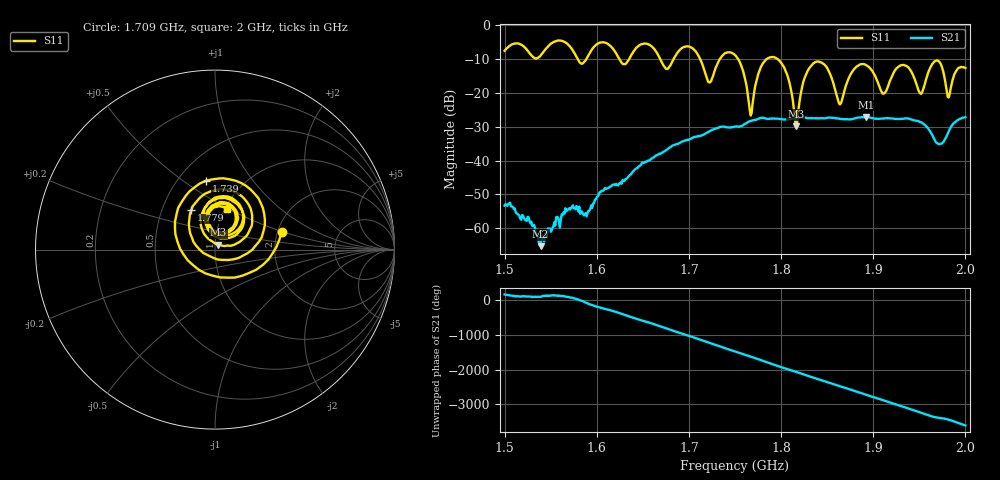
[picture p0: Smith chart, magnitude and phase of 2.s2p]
! NanoVNA-App by SYSJOINT et al v1.1.209 (+OD18)
! Date: 2026-01-21 14:14:57
! Start: 1,5GHz Stop: 2GHz Points: 501
! S-Parameter data: F S11 S21 S12 S22
# Hz S RI R 50
!  Frequency  S11_Real  S11_Imag  S21_Real  S21_Imag  S12_Real  S12_Imag  S22_Real  S22_Imag
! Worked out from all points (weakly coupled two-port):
!   501 points, 1.5 GHz to 2 GHz, reference 50 ohm
!   highest |S21| = -27.09 dB at 1.892 GHz (marker M1); lowest = -65.3 dB at 1.539 GHz (marker M2)
!   lowest |S11| = -29.9 dB at 1.816 GHz (marker M3), VSWR 1.07, Z = 51.7 + j2.75 ohm
!   |S11| at or under -10 dB: 1.712 GHz to 1.733 GHz (21.22 MHz wide, 1.23 % of centre); 1.754 GHz to 1.784 GHz (30.51 MHz wide, 1.73 % of centre); 1.796 GHz to end of sweep (the widest 3 of 6)
!   S12 and S22 are empty: the file has one direction only
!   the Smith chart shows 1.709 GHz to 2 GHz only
!   S11 on the Smith chart (normalised r, x): 1.709 GHz: 2.11, +0.47; 1.739 GHz: 0.68, +0.61; 1.779 GHz: 0.70, +0.33; 2 GHz: 1.02, +0.49
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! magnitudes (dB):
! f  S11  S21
! 1.5 GHz  -7.5  -53.3
! 1.539 GHz  -9.0  -65.3
! 1.584 GHz  -11.4  -55.1
! 1.605 GHz  -5.0  -48.9
! 1.667 GHz  -9.0  -38.2
! 1.709 GHz  -8.3  -32.9
! 1.722 GHz  -16.9  -31.3
! 1.739 GHz  -8.2  -30.0
! 1.75 GHz  -8.8  -29.9
! 1.767 GHz  -26.7  -28.3
! 1.779 GHz  -11.8  -27.3
! 1.801 GHz  -11.4  -27.8
! 1.816 GHz  -29.9  -27.6
! 1.834 GHz  -11.6  -27.4
! 1.864 GHz  -23.4  -27.6
! 1.892 GHz  -11.7  -27.1
! 1.917 GHz  -17.2  -27.5
! 1.934 GHz  -11.8  -27.5
! 1.952 GHz  -20.2  -28.6
! 1.972 GHz  -10.8  -35.1
! 1.982 GHz  -21.3  -31.2
! 2 GHz  -12.6  -27.1
